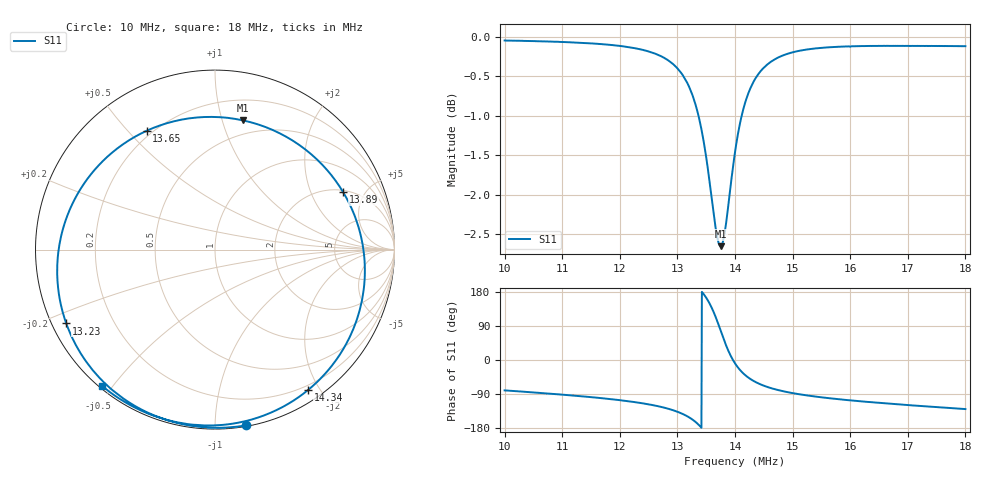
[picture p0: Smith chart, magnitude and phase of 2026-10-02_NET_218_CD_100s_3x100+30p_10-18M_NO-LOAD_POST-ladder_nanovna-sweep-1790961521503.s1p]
! NanoVNA Web complex sweep
! Processing: unaveraged complex samples; linear segment spacing; no smoothing
# Hz S RI R 50
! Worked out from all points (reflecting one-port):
!   1010 points, 10 MHz to 18 MHz, reference 50 ohm
!   lowest |S11| = -2.7 dB at 13.75 MHz (marker M1), VSWR 6.59, Z = 18.6 + j58.5 ohm
!   phase of S11 starts at -80 deg and turns -409 deg over the sweep
!   S11 on the Smith chart (normalised r, x): 10 MHz: 0.01, -1.19; 13.23 MHz: 0.04, -0.23; 13.65 MHz: 0.18, +0.56; 13.89 MHz: 2.11, +3.47; 14.34 MHz: 0.14, -1.85; 18 MHz: 0.01, -0.47
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1e7  0.1701 -0.9799
1.100698e7  -0.0258 -0.992
1.200604e7  -0.2735 -0.948
1.261657e7  -0.4939 -0.8413
1.283065e7  -0.5977 -0.7598
1.300509e7  -0.6962 -0.6529
1.312403e7  -0.7685 -0.5439
1.32271e7  -0.8287 -0.4113
1.335397e7  -0.8775 -0.1755
1.348083e7  -0.8312 0.1658
1.356805e7  -0.6702 0.4449
1.364734e7  -0.3811 0.6618
1.370284e7  -0.1032 0.7357
1.375042e7  0.1556 0.72
1.382178e7  0.5044 0.5571
1.388521e7  0.7139 0.32
1.394071e7  0.8083 0.0942
1.400414e7  0.8347 -0.143
1.407551e7  0.7994 -0.3609
1.41548e7  0.7221 -0.5416
1.424202e7  0.6231 -0.6808
1.433716e7  0.5177 -0.7828
1.459882e7  0.282 -0.9205
1.50032e7  0.0433 -0.9766
1.543929e7  -0.1253 -0.9754
1.600225e7  -0.2796 -0.945
1.700131e7  -0.478 -0.8631
1.800036e7  -0.6274 -0.761
